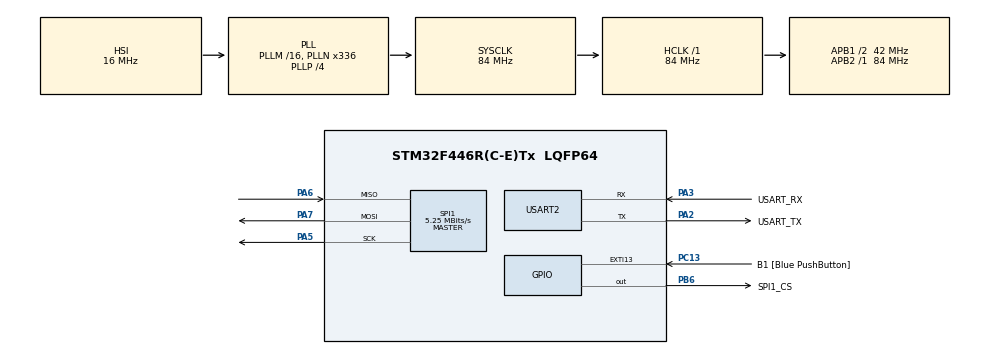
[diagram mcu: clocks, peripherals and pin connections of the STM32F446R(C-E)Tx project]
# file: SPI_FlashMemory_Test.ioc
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Mcu.Family=STM32F4
Mcu.Name=STM32F446R(C-E)Tx
Mcu.Package=LQFP64
NVIC.PriorityGroup=NVIC_PRIORITYGROUP_0
PA13.GPIO_Label=TMS
PA13.Mode=Serial_Wire
PA13.Signal=SYS_JTMS-SWDIO
PA14.GPIO_Label=TCK
PA14.Mode=Serial_Wire
PA14.Signal=SYS_JTCK-SWCLK
PA2.GPIO_Label=USART_TX
PA2.Mode=Asynchronous
PA2.Signal=USART2_TX
PA3.GPIO_Label=USART_RX
PA3.Mode=Asynchronous
PA3.Signal=USART2_RX
PA5.Mode=Full_Duplex_Master
PA5.Signal=SPI1_SCK
PA6.Mode=Full_Duplex_Master
PA6.Signal=SPI1_MISO
PA7.Mode=Full_Duplex_Master
PA7.Signal=SPI1_MOSI
PB3.GPIO_Label=SWO
PB3.Signal=SYS_JTDO-SWO
PB6.GPIO_Label=SPI1_CS
PB6.Signal=GPIO_Output
PC13.GPIO_Label=B1 [Blue PushButton]
PC13.GPIO_ModeDefaultEXTI=GPIO_MODE_IT_FALLING
PC13.Signal=GPXTI13
PC14-OSC32_IN.Mode=LSE-External-Oscillator
PC14-OSC32_IN.Signal=RCC_OSC32_IN
PC15-OSC32_OUT.Mode=LSE-External-Oscillator
PC15-OSC32_OUT.Signal=RCC_OSC32_OUT
PH0-OSC_IN.Mode=HSE-External-Oscillator
PH0-OSC_IN.Signal=RCC_OSC_IN
PH1-OSC_OUT.Mode=HSE-External-Oscillator
PH1-OSC_OUT.Signal=RCC_OSC_OUT
ProjectManager.HeapSize=0x200
ProjectManager.StackSize=0x400
ProjectManager.TargetToolchain=STM32CubeIDE
RCC.48MHZClocksFreq_Value=84000000
RCC.AHBFreq_Value=84000000
RCC.APB1CLKDivider=RCC_HCLK_DIV2
RCC.APB1Freq_Value=42000000
RCC.APB1TimFreq_Value=84000000
RCC.APB2Freq_Value=84000000
RCC.APB2TimFreq_Value=84000000
RCC.CortexFreq_Value=84000000
RCC.FLatency-AdvancedSettings=FLASH_LATENCY_2
RCC.HCLKFreq_Value=84000000
RCC.HSE_VALUE=8000000
RCC.HSI_VALUE=16000000
RCC.PLLN=336
RCC.PLLP=RCC_PLLP_DIV4
RCC.SYSCLKFreq_VALUE=84000000
RCC.SYSCLKSource=RCC_SYSCLKSOURCE_PLLCLK
RCC.USBFreq_Value=168000000
RCC.VCOOutputFreq_Value=336000000
SPI1.BaudRatePrescaler=SPI_BAUDRATEPRESCALER_16
SPI1.CalculateBaudRate=5.25 MBits/s
SPI1.Direction=SPI_DIRECTION_2LINES
SPI1.Mode=SPI_MODE_MASTER
SPI1.VirtualType=VM_MASTER
USART2.VirtualMode=VM_ASYNC
board=NUCLEO-F446RE

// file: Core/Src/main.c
/* USER CODE BEGIN Header */
/**
  ******************************************************************************
  * @file           : main.c
  * @brief          : Main program body
  ******************************************************************************
  * @attention
  *
  * Copyright (c) 2026 STMicroelectronics.
  * All rights reserved.
  *
  * This software is licensed under terms that can be found in the LICENSE file
  * in the root directory of this software component.
  * If no LICENSE file comes with this software, it is provided AS-IS.
  *
  ******************************************************************************
  */
/* USER CODE END Header */
#include "main.h"

/* USER CODE BEGIN Includes */

/* Winbond W25Q SPI NOR flash driver: uses global hspi1 and GPIO CS (see MX_GPIO_Init). */
#include "w25qxx.h"

/* USER CODE END Includes */

/* USER CODE BEGIN PD */

/* Max time HAL_UART_Transmit waits for the shift register / line (ms); avoids infinite stall. */
#define UART_TX_TIMEOUT_MS    1000U

/* USER CODE END PD */

SPI_HandleTypeDef hspi1;

UART_HandleTypeDef huart2;

void SystemClock_Config(void);
static void MX_GPIO_Init(void);
static void MX_USART2_UART_Init(void);
static void MX_SPI1_Init(void);

/* USER CODE BEGIN 0 */

/* Return length of NUL-terminated string s (excluding '\0'); 0 if s is NULL (safe for HAL). */
static uint16_t Uart_StringLen(const char *s)
{
  uint16_t n = 0U;

  if (s == NULL)
  {
    return 0U;
  }

  /* Count bytes until terminator so we know how many to send. */
  while (s[n] != '\0')
  {
    n++;
  }
  return n;
}

/* Blocking TX of a C string on USART2 (what you see on serial terminal). */
static void Uart_Print(const char *s)
{
  if (s == NULL)
  {
    return;
  }

  (void)HAL_UART_Transmit(&huart2, (uint8_t *)s, Uart_StringLen(s), UART_TX_TIMEOUT_MS);
}

/* CRLF so typical terminals start the next line correctly (not only LF). */
static void Uart_PrintNewline(void)
{
  const char nl[] = "\r\n";

  (void)HAL_UART_Transmit(&huart2, (uint8_t *)nl, 2U, UART_TX_TIMEOUT_MS);
}

/* One byte as two hex ASCII chars plus a trailing space for readable dumps. */
static void Uart_PrintHexByte(uint8_t b)
{
  const char hex[] = "0123456789ABCDEF";
  char out[3];

  out[0] = hex[(b >> 4) & 0x0F]; /* Upper nibble -> one of 0..F */
  out[1] = hex[b & 0x0F];        /* Lower nibble */
  out[2] = ' ';
  (void)HAL_UART_Transmit(&huart2, (uint8_t *)out, 3U, UART_TX_TIMEOUT_MS);
}

/* USER CODE END 0 */

int main(void)
{

  /* MCU Configuration--------------------------------------------------------*/

  /* Reset of all peripherals, Initializes the Flash interface and the Systick. */
  HAL_Init();

  /* Configure the system clock */
  SystemClock_Config();

  /* Initialize all configured peripherals */
  MX_GPIO_Init();
  MX_USART2_UART_Init();
  MX_SPI1_Init();
  /* USER CODE BEGIN 2 */
  /* One-time driver setup: chip detect, sizes, default CS/SPI usage. false = ID/read failed. */
  if (W25qxx_Init() == false)
  {
    Uart_Print("\r\nW25Q init FAIL\r\n");
  }
  else
  {
    Uart_Print("\r\nW25Q init OK\r\n");
  }

  /* USER CODE END 2 */

  /* Infinite loop */
  while (1)
  {

    /* USER CODE BEGIN 3 */
    /* 24-bit JEDEC ID: [23:16] manufacturer (Winbond 0xEF), [15:8] memory type, [7:0] capacity ID. */
    uint32_t jedec = 0U;
    /* Run destructive erase/program/verify only once so flash does not churn every second. */
    static uint8_t didWriteTest = 0U;
    static const uint8_t pattern[16] = {
      0x00U, 0x11U, 0x22U, 0x33U, 0x44U, 0x55U, 0x66U, 0x77U,
      0x88U, 0x99U, 0xAAU, 0xBBU, 0xCCU, 0xDDU, 0xEEU, 0xFFU
    };
    uint8_t data[16] = {0};   /* Snapshot read from flash @ address 0 before optional write. */
    uint8_t after[16] = {0};  /* Read-back after program for verify. */

    Uart_Print("\r\nW25Q16 SPI test\r\n");

    jedec = W25qxx_ReadID();
    Uart_Print("JEDEC: ");
    /* Print MSB..LSB so it matches datasheet byte order: MFID, type, density. */
    Uart_PrintHexByte((uint8_t)((jedec >> 16) & 0xFFU));
    Uart_PrintHexByte((uint8_t)((jedec >> 8) & 0xFFU));
    Uart_PrintHexByte((uint8_t)(jedec & 0xFFU));
    Uart_PrintNewline();

    /* Fast read of first 16 bytes (non-destructive); often 0xFF if erased. */
    W25qxx_ReadBytes(data, 0U, (uint32_t)sizeof(data));
    Uart_Print("DATA[0..15]: ");
    for (uint16_t i = 0; i < (uint16_t)sizeof(data); i++)
    {
      Uart_PrintHexByte(data[i]);
    }
    Uart_PrintNewline();

    if (didWriteTest == 0U)
    {
      /* W25Q sector erase = 4 KiB; sector index 0 => starts at flash byte address 0. */
      Uart_Print("Erase 4KB @0x000000 ...\r\n");
      W25qxx_EraseSector(0U);
      Uart_Print("Erase OK\r\n");

      /* WriteSector: offset 0 within sector 0; length must fit page/sector rules in driver. */
      Uart_Print("Program 16 bytes @0x000000 ...\r\n");
      W25qxx_WriteSector((uint8_t *)pattern, 0U, 0U, (uint32_t)sizeof(pattern));
      Uart_Print("Program OK\r\n");

      W25qxx_ReadBytes(after, 0U, (uint32_t)sizeof(after));
      Uart_Print("AFTER[0..15]: ");
      for (uint16_t i = 0; i < (uint16_t)sizeof(after); i++)
      {
        Uart_PrintHexByte(after[i]);
      }
      Uart_PrintNewline();

      /* Byte-for-byte compare: any mismatch => VERIFY BAD. */
      uint8_t ok = 1U;
      for (uint16_t i = 0; i < (uint16_t)sizeof(after); i++)
      {
        if (after[i] != pattern[i])
        {
          ok = 0U;
        }
      }
      if (ok != 0U)
      {
        Uart_Print("VERIFY: OK\r\n");
      }
      else
      {
        Uart_Print("VERIFY: BAD\r\n");
      }

      didWriteTest = 1U;
    }

    /* Pace the loop so the serial log is readable and UART is not flooded. */
    HAL_Delay(1000U);
  }
  /* USER CODE END 3 */
}

void SystemClock_Config(void)
{
  /* HSI + PLL: establishes SYSCLK and AHB/APB dividers; peripherals (SPI1, USART2) clock from these buses. */
  RCC_OscInitTypeDef RCC_OscInitStruct = {0};
  RCC_ClkInitTypeDef RCC_ClkInitStruct = {0};

  /** Configure the main internal regulator output voltage
  */
  __HAL_RCC_PWR_CLK_ENABLE();
  __HAL_PWR_VOLTAGESCALING_CONFIG(PWR_REGULATOR_VOLTAGE_SCALE3);

  /** Initializes the RCC Oscillators according to the specified parameters
  * in the RCC_OscInitTypeDef structure.
  */
  RCC_OscInitStruct.OscillatorType = RCC_OSCILLATORTYPE_HSI;
  RCC_OscInitStruct.HSIState = RCC_HSI_ON;
  RCC_OscInitStruct.HSICalibrationValue = RCC_HSICALIBRATION_DEFAULT;
  RCC_OscInitStruct.PLL.PLLState = RCC_PLL_ON;
  RCC_OscInitStruct.PLL.PLLSource = RCC_PLLSOURCE_HSI;
  RCC_OscInitStruct.PLL.PLLM = 16;
  RCC_OscInitStruct.PLL.PLLN = 336;
  RCC_OscInitStruct.PLL.PLLP = RCC_PLLP_DIV4;
  RCC_OscInitStruct.PLL.PLLQ = 2;
  RCC_OscInitStruct.PLL.PLLR = 2;
  if (HAL_RCC_OscConfig(&RCC_OscInitStruct) != HAL_OK)
  {
    Error_Handler();
  }

  /** Initializes the CPU, AHB and APB buses clocks
  */
  RCC_ClkInitStruct.ClockType = RCC_CLOCKTYPE_HCLK|RCC_CLOCKTYPE_SYSCLK
                              |RCC_CLOCKTYPE_PCLK1|RCC_CLOCKTYPE_PCLK2;
  RCC_ClkInitStruct.SYSCLKSource = RCC_SYSCLKSOURCE_PLLCLK;
  RCC_ClkInitStruct.AHBCLKDivider = RCC_SYSCLK_DIV1;
  RCC_ClkInitStruct.APB1CLKDivider = RCC_HCLK_DIV2;
  RCC_ClkInitStruct.APB2CLKDivider = RCC_HCLK_DIV1;

  if (HAL_RCC_ClockConfig(&RCC_ClkInitStruct, FLASH_LATENCY_2) != HAL_OK)
  {
    Error_Handler();
  }
}

static void MX_SPI1_Init(void)
{

  /* SPI master to W25Q: 8-bit frames, CPOL/CPHA 0, MSB first; NSS software — CS is a separate GPIO the driver toggles. */
  /* SPI1 parameter configuration*/
  hspi1.Instance = SPI1;
  hspi1.Init.Mode = SPI_MODE_MASTER;
  hspi1.Init.Direction = SPI_DIRECTION_2LINES;
  hspi1.Init.DataSize = SPI_DATASIZE_8BIT;
  hspi1.Init.CLKPolarity = SPI_POLARITY_LOW;
  hspi1.Init.CLKPhase = SPI_PHASE_1EDGE;
  hspi1.Init.NSS = SPI_NSS_SOFT;
  hspi1.Init.BaudRatePrescaler = SPI_BAUDRATEPRESCALER_16;
  hspi1.Init.FirstBit = SPI_FIRSTBIT_MSB;
  hspi1.Init.TIMode = SPI_TIMODE_DISABLE;
  hspi1.Init.CRCCalculation = SPI_CRCCALCULATION_DISABLE;
  hspi1.Init.CRCPolynomial = 10;
  if (HAL_SPI_Init(&hspi1) != HAL_OK)
  {
    Error_Handler();
  }

}

static void MX_USART2_UART_Init(void)
{

  /* USART2 @ 115200 8N1: primary debug/log link from the board to a PC terminal. */
  huart2.Instance = USART2;
  huart2.Init.BaudRate = 115200;
  huart2.Init.WordLength = UART_WORDLENGTH_8B;
  huart2.Init.StopBits = UART_STOPBITS_1;
  huart2.Init.Parity = UART_PARITY_NONE;
  huart2.Init.Mode = UART_MODE_TX_RX;
  huart2.Init.HwFlowCtl = UART_HWCONTROL_NONE;
  huart2.Init.OverSampling = UART_OVERSAMPLING_16;
  if (HAL_UART_Init(&huart2) != HAL_OK)
  {
    Error_Handler();
  }

}

static void MX_GPIO_Init(void)
{
  /* Enables clocks and CS output for SPI flash (chip-select is active-low); B1 is user button with EXTI. */
  GPIO_InitTypeDef GPIO_InitStruct = {0};

  /* GPIO Ports Clock Enable */
  __HAL_RCC_GPIOC_CLK_ENABLE();
  __HAL_RCC_GPIOH_CLK_ENABLE();
  __HAL_RCC_GPIOA_CLK_ENABLE();
  __HAL_RCC_GPIOB_CLK_ENABLE();

  /*Configure GPIO pin Output Level */
  HAL_GPIO_WritePin(SPI1_CS_GPIO_Port, SPI1_CS_Pin, GPIO_PIN_RESET);

  /*Configure GPIO pin : B1_Pin */
  GPIO_InitStruct.Pin = B1_Pin;
  GPIO_InitStruct.Mode = GPIO_MODE_IT_FALLING;
  GPIO_InitStruct.Pull = GPIO_NOPULL;
  HAL_GPIO_Init(B1_GPIO_Port, &GPIO_InitStruct);

  /*Configure GPIO pin : SPI1_CS_Pin */
  GPIO_InitStruct.Pin = SPI1_CS_Pin;
  GPIO_InitStruct.Mode = GPIO_MODE_OUTPUT_PP;
  GPIO_InitStruct.Pull = GPIO_NOPULL;
  GPIO_InitStruct.Speed = GPIO_SPEED_FREQ_LOW;
  HAL_GPIO_Init(SPI1_CS_GPIO_Port, &GPIO_InitStruct);

}

void Error_Handler(void)
{
  /* USER CODE BEGIN Error_Handler_Debug */
  /* HAL unrecoverable path: mask interrupts and park here (attach debugger / LED / reset policy as you like). */
  /* User can add his own implementation to report the HAL error return state */
  __disable_irq();
  while (1)
  {
  }
  /* USER CODE END Error_Handler_Debug */
}
